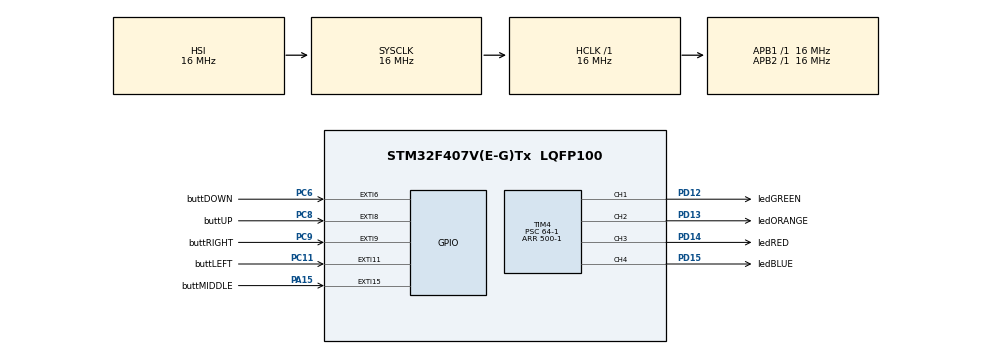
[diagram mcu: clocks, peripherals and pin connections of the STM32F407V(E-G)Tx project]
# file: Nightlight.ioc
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Mcu.Family=STM32F4
Mcu.Name=STM32F407V(E-G)Tx
Mcu.Package=LQFP100
NVIC.EXTI15_10_IRQn=true\:0\:0\:false\:false\:true\:true\:true
NVIC.EXTI9_5_IRQn=true\:0\:0\:false\:false\:true\:true\:true
NVIC.PriorityGroup=NVIC_PRIORITYGROUP_4
PA15.GPIO_Label=buttMIDDLE
PA15.GPIO_ModeDefaultEXTI=GPIO_MODE_IT_FALLING
PA15.Signal=GPXTI15
PC11.GPIO_Label=buttLEFT
PC11.GPIO_ModeDefaultEXTI=GPIO_MODE_IT_FALLING
PC11.Signal=GPXTI11
PC6.GPIO_Label=buttDOWN
PC6.GPIO_ModeDefaultEXTI=GPIO_MODE_IT_FALLING
PC6.Signal=GPXTI6
PC8.GPIO_Label=buttUP
PC8.GPIO_ModeDefaultEXTI=GPIO_MODE_IT_FALLING
PC8.Signal=GPXTI8
PC9.GPIO_Label=buttRIGHT
PC9.GPIO_ModeDefaultEXTI=GPIO_MODE_IT_FALLING
PC9.Signal=GPXTI9
PD12.GPIO_Label=ledGREEN
PD12.GPIO_PuPd=GPIO_PULLDOWN
PD12.Signal=S_TIM4_CH1
PD13.GPIO_Label=ledORANGE
PD13.GPIO_PuPd=GPIO_PULLDOWN
PD13.Signal=S_TIM4_CH2
PD14.GPIO_Label=ledRED
PD14.GPIO_PuPd=GPIO_PULLDOWN
PD14.Signal=S_TIM4_CH3
PD15.GPIO_Label=ledBLUE
PD15.GPIO_PuPd=GPIO_PULLDOWN
PD15.Signal=S_TIM4_CH4
ProjectManager.HeapSize=0x200
ProjectManager.StackSize=0x400
ProjectManager.TargetToolchain=STM32CubeIDE
RCC.AHBFreq_Value=16000000
RCC.APB1Freq_Value=16000000
RCC.APB2Freq_Value=16000000
RCC.CortexFreq_Value=16000000
RCC.HSE_VALUE=25000000
RCC.HSI_VALUE=16000000
RCC.LSE_VALUE=32768
RCC.SYSCLKFreq_VALUE=16000000
RCC.VCOOutputFreq_Value=192000000
SH.S_TIM4_CH1.0=TIM4_CH1,PWM Generation1 CH1
SH.S_TIM4_CH2.0=TIM4_CH2,PWM Generation2 CH2
SH.S_TIM4_CH3.0=TIM4_CH3,PWM Generation3 CH3
SH.S_TIM4_CH4.0=TIM4_CH4,PWM Generation4 CH4
TIM4.Channel-PWM\ Generation1\ CH1=TIM_CHANNEL_1
TIM4.Channel-PWM\ Generation2\ CH2=TIM_CHANNEL_2
TIM4.Channel-PWM\ Generation3\ CH3=TIM_CHANNEL_3
TIM4.Channel-PWM\ Generation4\ CH4=TIM_CHANNEL_4
TIM4.Period=500-1
TIM4.Prescaler=64-1
board=custom

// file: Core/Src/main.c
/* USER CODE BEGIN Header */
/*
 * -----------------------------------------------------------------------------
 * Nightlight.
 * It has 5 operating modes - 3 normal and 2 smooth (with PWM).
 * 4 LEDS: green(PD12), orange(PD13), red(PD14), blue(PD15).
 * 5 buttons: up(PC8), down(PC6), left(PC11), right(PC9), middle(PA15).
 * Key control:
 * UP/DOWN - increase/decrease the blink rate
 * LEFT/RIGHT - previous/next mode
 * MIDDLE - start/stop blinking
 * -----------------------------------------------------------------------------
 */
/**
  ******************************************************************************
  * @file           : main.c
  * @brief          : Main program body
  ******************************************************************************
  * @attention
  *
  * <h2><center>&copy; Copyright (c) 2021 STMicroelectronics.
  * All rights reserved.</center></h2>
  *
  * This software component is licensed by ST under BSD 3-Clause license,
  * the "License"; You may not use this file except in compliance with the
  * License. You may obtain a copy of the License at:
  *                        opensource.org/licenses/BSD-3-Clause
  *
  ******************************************************************************
  */
/* USER CODE END Header */
#include "main.h"

/* USER CODE BEGIN Includes */
#include "stdio.h"
/* USER CODE END Includes */

TIM_HandleTypeDef htim4;

/* USER CODE BEGIN PV */
volatile uint32_t * ledArray[] =
{
		// Defined in main.h
		&ledGREEN_Tim,
		&ledORANGE_Tim,
		&ledRED_Tim,
		&ledBLUE_Tim
};
const uint32_t SIZEledArray = sizeof(ledArray)/sizeof(ledArray[0]);

// Leds menu. The modes will switch in the same sequence as defined in this array.
uint8_t favModesArray[] = {1, 2, 3, 4, 5};
const uint8_t SIZEfavModesArray = sizeof(favModesArray)/sizeof(favModesArray[0]);

// Set the default led mode to 1.
volatile uint8_t ledMode = 1;
volatile uint8_t last_ledMode;
volatile int8_t modeCounter;
_Bool stop_flag = 0;

/* Blink rate change factor.
 * Varies from 1 (fast blinking) to 10 (slow blinking).
 * In normal mode, the delay is organized in the format: 100ms*ledSpeed
 * In PWM mode, ledSpeed is used as a divider of a PWM step: 10/ledSpeed  */
volatile uint8_t ledSpeed = 10;

// pwm_max must be equal to the (Counter Period + 1)
uint16_t pwm_max = 500;
/* USER CODE END PV */

void SystemClock_Config(void);
static void MX_GPIO_Init(void);
static void MX_TIM4_Init(void);
/* USER CODE BEGIN PFP */
void HAL_GPIO_EXTI_Callback(uint16_t GPIO_Pin);
void DelayCtrl();
void schemeCircle();
void schemePairs();
void schemeSnake();
void schemeCirclePWM();
void schemeSnakePWM();
void schemeSTOP();
/* USER CODE END PFP */

int main(void)
{

  /* MCU Configuration--------------------------------------------------------*/

  /* Reset of all peripherals, Initializes the Flash interface and the Systick. */
  HAL_Init();

  /* Configure the system clock */
  SystemClock_Config();

  /* Initialize all configured peripherals */
  MX_GPIO_Init();
  MX_TIM4_Init();
  /* USER CODE BEGIN 2 */
  HAL_TIM_PWM_Start(&htim4, TIM_CHANNEL_1);
  HAL_TIM_PWM_Start(&htim4, TIM_CHANNEL_2);
  HAL_TIM_PWM_Start(&htim4, TIM_CHANNEL_3);
  HAL_TIM_PWM_Start(&htim4, TIM_CHANNEL_4);
  /* USER CODE END 2 */

  /* Infinite loop */
  /* USER CODE BEGIN WHILE */
  while (1)
  {
	  switch (ledMode)
	  {
	  	  /* To add or remove a mode from the
	  	   * led menu it is necessary to edit
	  	   * mode numbers in favModesArray. */

	  	  // Turn off all LEDs:
	      case 99: schemeSTOP(); break;
	      // The LEDs light up one after the other in a circle:
	      case 1: schemeCircle(); break;
	      // LEDs light up in pairs (opposite each other):
	      case 2: schemePairs(); break;
	      // LEDs light up alternately until they form a complete
	      // circle, and in the same way go out:
	      case 3: schemeSnake(); break;
	      // LEDs light up smoothly one after the other in a circle:
	      case 4: schemeCirclePWM(); break;
	      // LEDs light up smoothly alternately until they form
	      // a complete circle, and in the same way go out.
	      case 5: schemeSnakePWM(); break;
	  }
    /* USER CODE END WHILE */

  }
}

void SystemClock_Config(void)
{
  RCC_OscInitTypeDef RCC_OscInitStruct = {0};
  RCC_ClkInitTypeDef RCC_ClkInitStruct = {0};

  /** Configure the main internal regulator output voltage
  */
  __HAL_RCC_PWR_CLK_ENABLE();
  __HAL_PWR_VOLTAGESCALING_CONFIG(PWR_REGULATOR_VOLTAGE_SCALE1);
  /** Initializes the RCC Oscillators according to the specified parameters
  * in the RCC_OscInitTypeDef structure.
  */
  RCC_OscInitStruct.OscillatorType = RCC_OSCILLATORTYPE_HSI;
  RCC_OscInitStruct.HSIState = RCC_HSI_ON;
  RCC_OscInitStruct.HSICalibrationValue = RCC_HSICALIBRATION_DEFAULT;
  RCC_OscInitStruct.PLL.PLLState = RCC_PLL_NONE;
  if (HAL_RCC_OscConfig(&RCC_OscInitStruct) != HAL_OK)
  {
    Error_Handler();
  }
  /** Initializes the CPU, AHB and APB buses clocks
  */
  RCC_ClkInitStruct.ClockType = RCC_CLOCKTYPE_HCLK|RCC_CLOCKTYPE_SYSCLK
                              |RCC_CLOCKTYPE_PCLK1|RCC_CLOCKTYPE_PCLK2;
  RCC_ClkInitStruct.SYSCLKSource = RCC_SYSCLKSOURCE_HSI;
  RCC_ClkInitStruct.AHBCLKDivider = RCC_SYSCLK_DIV1;
  RCC_ClkInitStruct.APB1CLKDivider = RCC_HCLK_DIV1;
  RCC_ClkInitStruct.APB2CLKDivider = RCC_HCLK_DIV1;

  if (HAL_RCC_ClockConfig(&RCC_ClkInitStruct, FLASH_LATENCY_0) != HAL_OK)
  {
    Error_Handler();
  }
}

static void MX_TIM4_Init(void)
{

  TIM_MasterConfigTypeDef sMasterConfig = {0};
  TIM_OC_InitTypeDef sConfigOC = {0};

  htim4.Instance = TIM4;
  htim4.Init.Prescaler = 64-1;
  htim4.Init.CounterMode = TIM_COUNTERMODE_UP;
  htim4.Init.Period = 500-1;
  htim4.Init.ClockDivision = TIM_CLOCKDIVISION_DIV1;
  htim4.Init.AutoReloadPreload = TIM_AUTORELOAD_PRELOAD_DISABLE;
  if (HAL_TIM_PWM_Init(&htim4) != HAL_OK)
  {
    Error_Handler();
  }
  sMasterConfig.MasterOutputTrigger = TIM_TRGO_RESET;
  sMasterConfig.MasterSlaveMode = TIM_MASTERSLAVEMODE_DISABLE;
  if (HAL_TIMEx_MasterConfigSynchronization(&htim4, &sMasterConfig) != HAL_OK)
  {
    Error_Handler();
  }
  sConfigOC.OCMode = TIM_OCMODE_PWM1;
  sConfigOC.Pulse = 0;
  sConfigOC.OCPolarity = TIM_OCPOLARITY_HIGH;
  sConfigOC.OCFastMode = TIM_OCFAST_DISABLE;
  if (HAL_TIM_PWM_ConfigChannel(&htim4, &sConfigOC, TIM_CHANNEL_1) != HAL_OK)
  {
    Error_Handler();
  }
  if (HAL_TIM_PWM_ConfigChannel(&htim4, &sConfigOC, TIM_CHANNEL_2) != HAL_OK)
  {
    Error_Handler();
  }
  if (HAL_TIM_PWM_ConfigChannel(&htim4, &sConfigOC, TIM_CHANNEL_3) != HAL_OK)
  {
    Error_Handler();
  }
  if (HAL_TIM_PWM_ConfigChannel(&htim4, &sConfigOC, TIM_CHANNEL_4) != HAL_OK)
  {
    Error_Handler();
  }
  HAL_TIM_MspPostInit(&htim4);

}

static void MX_GPIO_Init(void)
{
  GPIO_InitTypeDef GPIO_InitStruct = {0};

  /* GPIO Ports Clock Enable */
  __HAL_RCC_GPIOD_CLK_ENABLE();
  __HAL_RCC_GPIOC_CLK_ENABLE();
  __HAL_RCC_GPIOA_CLK_ENABLE();

  /*Configure GPIO pins : buttDOWN_Pin buttUP_Pin buttRIGHT_Pin buttLEFT_Pin */
  GPIO_InitStruct.Pin = buttDOWN_Pin|buttUP_Pin|buttRIGHT_Pin|buttLEFT_Pin;
  GPIO_InitStruct.Mode = GPIO_MODE_IT_FALLING;
  GPIO_InitStruct.Pull = GPIO_NOPULL;
  HAL_GPIO_Init(GPIOC, &GPIO_InitStruct);

  /*Configure GPIO pin : buttMIDDLE_Pin */
  GPIO_InitStruct.Pin = buttMIDDLE_Pin;
  GPIO_InitStruct.Mode = GPIO_MODE_IT_FALLING;
  GPIO_InitStruct.Pull = GPIO_NOPULL;
  HAL_GPIO_Init(buttMIDDLE_GPIO_Port, &GPIO_InitStruct);

  /* EXTI interrupt init*/
  HAL_NVIC_SetPriority(EXTI9_5_IRQn, 0, 0);
  HAL_NVIC_EnableIRQ(EXTI9_5_IRQn);

  HAL_NVIC_SetPriority(EXTI15_10_IRQn, 0, 0);
  HAL_NVIC_EnableIRQ(EXTI15_10_IRQn);

}

/* USER CODE BEGIN 4 */
void DelayCtrl()
{
	/* Delay for normal mode.
	 * If ledSpeed = 10, the LEDs will blink with
	 * a delay of 1 sec at the slowest speed.*/
	HAL_Delay(100*ledSpeed);
}
void schemeCircle()
{
	/* The LEDs light up one after the other in a circle. */
	for (int i = 0; i < SIZEledArray; i++)
	{
		*ledArray[i] = pwm_max;
		DelayCtrl();
		*ledArray[i] = 0;
	}
}
void schemePairs()
{
	/* The LEDs light up in pairs (opposite each other). */
	for (int i = 0; i < SIZEledArray / 2; i++)
	{
		*ledArray[i] = pwm_max;
		*ledArray[i + 2] = pwm_max;
		DelayCtrl();
		*ledArray[i] = 0;
		*ledArray[i + 2] = 0;
	}
}
void schemeSnake()
{
	/* The LEDs light up alternately until they form a complete circle,
	 * and in the same way go out. */
	for (int i = 0; i < SIZEledArray; i++)
	{
		*ledArray[i] = pwm_max;
		DelayCtrl();
	}
	for (int i = 0; i < SIZEledArray; i++)
	{
		*ledArray[i] = 0;
		DelayCtrl();
	}
}
void schemeCirclePWM()
{
	/* The LEDs light up smoothly one after the other in a circle. */
	for (int i = 0; i < SIZEledArray; i++)
	{
		for (int j = 0; j <= pwm_max; )
		{
			*ledArray[i] = j;
			HAL_Delay(5);
			j += 10/ledSpeed;
		}
		for (int j = pwm_max; j >= 0; )
		{
			*ledArray[i] = j;
			HAL_Delay(5);
			j -= 10/ledSpeed;
		}
	}
}
void schemeSnakePWM()
{
	/* The LEDs light up smoothly alternately until they form a complete
	 * circle, and in the same way go out. */
	for (int i = 0; i < SIZEledArray; i++)
	{
		for (int j = 0; j <= pwm_max; )
		{
			*ledArray[i] = j;
			HAL_Delay(5);
			j += 10/ledSpeed;
		}
	}
	for (int i = 0; i < SIZEledArray; i++)
	{
		for (int j = pwm_max; j >= 0; )
		{
			*ledArray[i] = j;
			HAL_Delay(5);
			j -= 10/ledSpeed;;
		}
	}
}
void schemeSTOP()
{
	/* Turn off all LEDs. */
	for (int i = 0; i < SIZEledArray; i++)
	{
		*ledArray[i] = 0;
	}
}
void HAL_GPIO_EXTI_Callback(uint16_t GPIO_Pin)
{
	/* External interrupt handler function. */
	/* Tracking on which pin the interrupt was triggered. */
	switch (GPIO_Pin)
	{
	/*--- MODE CONTROL BEGIN ---*/
		case buttLEFT_Pin:
			if (!stop_flag)
			{
				// Get the number of the previous mode.
				if (--modeCounter < 0)
					modeCounter = SIZEfavModesArray - 1;
				ledMode = favModesArray[modeCounter];
			}
			break;
		case buttRIGHT_Pin:
			if (!stop_flag)
			{
				// Get the next mode number.
				if (++modeCounter >= SIZEfavModesArray)
					modeCounter = 0;
				ledMode = favModesArray[modeCounter];
			}
				break;
	/*--- MODE CONTROL END ---*/
	/*--- BEGIN SPEED CONTROL BEGIN ---*/
		case buttUP_Pin:
			if (ledSpeed > 1)
				ledSpeed--;
			break;
		case buttDOWN_Pin:
			if (ledSpeed < 10)
				ledSpeed++;
			break;
	/*--- SPEED CONTROL END ---*/
	/*--- BEGIN START/STOP BLINKING BEGIN ---*/
		case buttMIDDLE_Pin:
			// Turns off all LEDs, or turns on
			// the last active mode.
			stop_flag = !stop_flag;
			if (stop_flag)
			{
				last_ledMode = ledMode;
				ledMode = 99;
			}
			else
			{
				ledMode = last_ledMode;
			}
			break;
		default:
			__NOP();
			break;
	/*--- START/STOP BLINKING END ---*/
	}
}

/* USER CODE END 4 */

void Error_Handler(void)
{
  __disable_irq();
  while (1)
  {
  }
}

/************************ (C) COPYRIGHT STMicroelectronics *****END OF FILE****/
